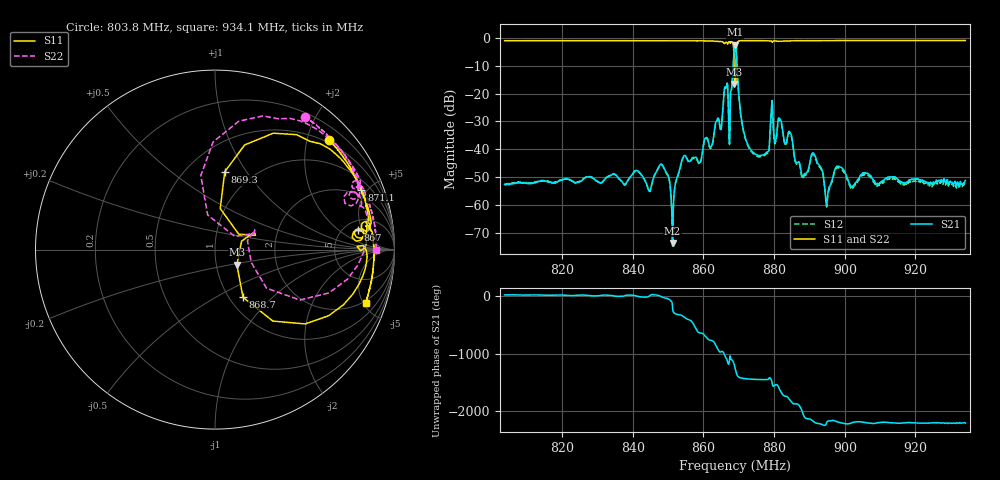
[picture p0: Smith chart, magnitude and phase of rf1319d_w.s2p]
!RF1319D,#2,wide,bn,8/22/05
# HZ S RI R 50
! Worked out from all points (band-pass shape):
!   1601 points, 803.8 MHz to 934.1 MHz, reference 50 ohm
!   highest |S21| = -2.53 dB at 868.9 MHz (marker M1); lowest = -73.5 dB at 851.3 MHz (marker M2)
!   |S21| within 3 dB of the highest: 868.6332 MHz to 869.3325 MHz (699.2 kHz wide, 0.0805 % of centre)
!   lowest |S11| = -16.6 dB at 868.8 MHz (marker M3), VSWR 1.35, Z = 62.8 - j10.9 ohm
!   |S11| at or under -10 dB: 868.7015 MHz to 869.2346 MHz (533.1 kHz wide, 0.0613 % of centre)
!   |S22| runs from -17.6 to -0.9 dB; largest |S21 - S12| = 0.028
!   S11 on the Smith chart (normalised r, x): 803.8 MHz: 0.44, +2.41; 867 MHz: 6.62, +4.03; 868.7 MHz: 1.16, -0.68; 869.3 MHz: 0.75, +0.80; 871.1 MHz: 1.53, +4.59; 934.1 MHz: 1.85, -5.21
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8.0378e8  0.6343 0.6119  0.00218 0.000913  0.00224 0.000879  0.5024 0.7396
8.255304e8  0.7388 0.4816  0.00256 0.000945  0.00259 0.000918  0.621 0.6433
8.47281e8  0.8178 0.3271  0.00459 0.00111  0.00454 0.000886  0.7246 0.5223
8.512726e8  0.8294 0.2954  -0.000212 7.9e-06  -0.000185 1.43e-05  0.7421 0.4962
8.542867e8  0.837 0.2676  0.00718 0.00128  0.00704 0.000895  0.7557 0.4744
8.590115e8  0.8489 0.2215  0.000582 0.00577  0.000879 0.00543  0.7759 0.436
8.648769e8  0.8458 0.12  -0.00828 0.021  -0.00713 0.0203  0.7966 0.3452
8.662617e8  0.8109 0.1141  0.1207 0.0525  0.117 0.0454  0.7739 0.3233
8.669949e8  0.7949 0.1086  -0.00356 -0.0832  -0.00679 -0.0792  0.7365 0.3177
8.687056e8  0.1562 -0.2658  -0.1431 -0.5983  -0.1303 -0.581  0.287 -0.2151
8.687871e8  0.1219 -0.0848  -0.3688 -0.5586  -0.3558 -0.5516  0.2019 -0.0715
8.6895e8  0.2193 0.0976  -0.7129 -0.2245  -0.7089 -0.2206  0.2215 0.1093
8.692758e8  0.0543 0.4337  -0.2731 0.5224  -0.2603 0.542  -0.0791 0.4125
8.71068e8  0.8156 0.3342  0.0259 0.00646  0.0251 0.00491  0.7109 0.5416
8.751411e8  0.8614 0.1997  0.00788 -0.000915  0.00747 -0.00114  0.7878 0.4271
8.815766e8  0.8543 0.1285  -0.0355 0.000309  -0.0334 0.00146  0.798 0.3633
8.881751e8  0.8772 0.0751  -0.00158 0.00281  -0.00142 0.00268  0.8322 0.3217
8.907005e8  0.8796 0.0543  0.0083 0.000321  0.00781 0.000155  0.8396 0.3046
8.95018e8  0.8847 0.0173  0.00114 -0.000424  0.00106 -0.000369  0.8536 0.2732
8.979506e8  0.885 -0.00757  0.0046 -0.00204  0.00426 -0.0019  0.8605 0.2531
9.124509e8  0.8792 -0.1255  0.0026 -0.00182  0.0024 -0.00169  0.8868 0.1512
9.341199e8  0.8385 -0.2952  0.00199 -0.00194  0.00191 -0.0017  0.8994 0.000183
